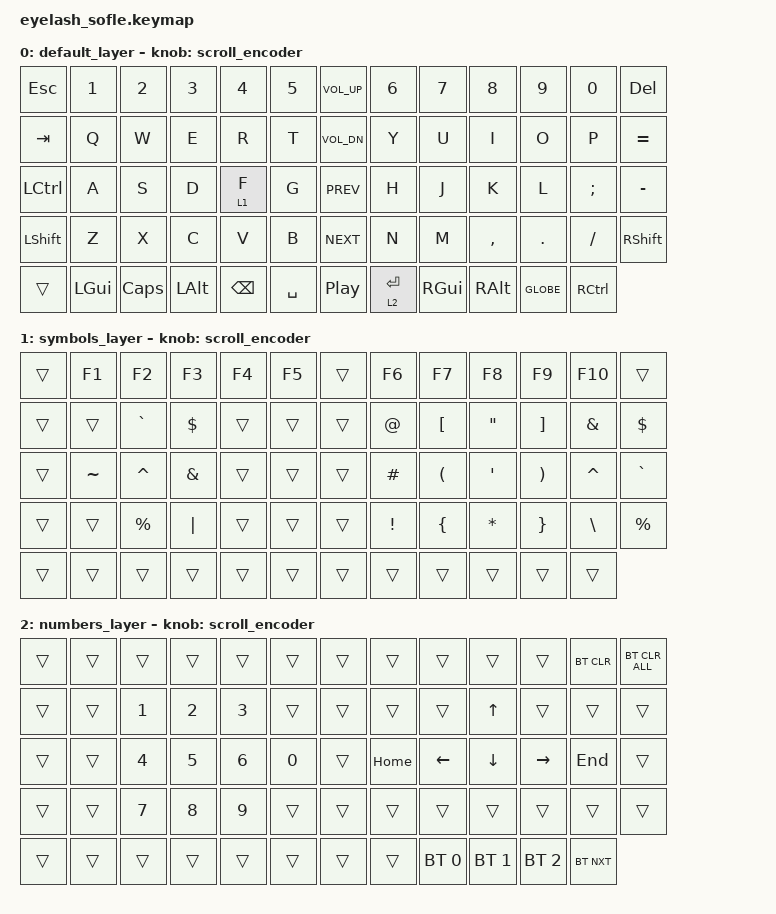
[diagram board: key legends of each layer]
#define ZMK_POINTING_DEFAULT_MOVE_VAL 1200  // 600
#define ZMK_POINTING_DEFAULT_SCRL_VAL 25   // 10

#include <input/processors.dtsi>
#include <zephyr/dt-bindings/input/input-event-codes.h>
#include <behaviors.dtsi>
#include <dt-bindings/zmk/bt.h>
#include <dt-bindings/zmk/keys.h>
#include <dt-bindings/zmk/pointing.h>

&mmv_input_listener { input-processors = <&zip_xy_scaler 2 1>; };

&msc_input_listener { input-processors = <&zip_scroll_scaler 2 1>; };

&msc {
    acceleration-exponent = <1>;      // 0
    time-to-max-speed-ms = <100>;       // 300
    delay-ms = <0>;                   // 0
};

&mmv {
    time-to-max-speed-ms = <500>;
    acceleration-exponent = <1>;
    trigger-period-ms = <16>;
};

/ {
    scroll_encoder: scroll_encoder {
        compatible = "zmk,behavior-sensor-rotate";
        #sensor-binding-cells = <0>;
        bindings = <&msc SCRL_DOWN>, <&msc SCRL_UP>;

        tap-ms = <100>;
    };

    behaviors {
        td0: tap_dance_0 {
            compatible = "zmk,behavior-tap-dance";
            label = "TAP_DANCE_0";
            #binding-cells = <0>;
            tapping-term-ms = <200>;
            bindings = <&kp LSHFT>, <&kp CAPS>;
        };
    };

    keymap {
        compatible = "zmk,keymap";

// ┏━━━━━━━━━━━━━━━━━━━━━━━━━━━━━━━━━━━━━━━┓
// ┃                  BASE                 ┃
// ┗━━━━━━━━━━━━━━━━━━━━━━━━━━━━━━━━━━━━━━━┛

        default_layer {
            bindings = <
&kp ESC           &kp N1    &kp N2    &kp N3    &kp N4    &kp N5             &kp C_VOL_UP         &kp N6     &kp N7    &kp N8     &kp N9     &kp N0    &kp DELETE
&kp TAB           &kp Q     &kp W     &kp E     &kp R     &kp T              &kp C_VOL_DN         &kp Y      &kp U     &kp I      &kp O      &kp P     &kp EQUAL
&kp LEFT_CONTROL  &kp A     &kp S     &kp D     &lt 1 F   &kp G              &kp C_PREV           &kp H      &kp J     &kp K      &kp L      &kp SEMI  &kp MINUS
&kp LEFT_SHIFT    &kp Z     &kp X     &kp C     &kp V     &kp B              &kp C_NEXT           &kp N      &kp M     &kp COMMA  &kp DOT    &kp FSLH  &kp RIGHT_SHIFT
&trans            &kp LGUI  &kp CAPS  &kp LALT  &kp BSPC  &kp SPACE          &kp C_PP             &lt 2 RET  &kp RGUI  &kp RALT   &kp GLOBE  &kp RCTRL

            >;

            sensor-bindings = <&scroll_encoder>;
            #display-name = "LAYER1";
        };

// ┏━━━━━━━━━━━━━━━━━━━━━━━━━━━━━━━━━━━━━━━┓
// ┃                  SYM                  ┃
// ┗━━━━━━━━━━━━━━━━━━━━━━━━━━━━━━━━━━━━━━━┛

        symbols_layer {
            bindings = <
&trans  &kp F1     &kp F2     &kp F3      &kp F4  &kp F5          &trans          &kp F6           &kp F7                &kp F8             &kp F9                 &kp F10        &trans
&trans  &trans     &kp GRAVE  &kp DOLLAR  &trans  &trans          &trans          &kp AT_SIGN      &kp LEFT_BRACKET      &kp DOUBLE_QUOTES  &kp RIGHT_BRACKET      &kp AMPERSAND  &kp DOLLAR
&trans  &kp TILDE  &kp CARET  &kp AMPS    &trans  &trans          &trans          &kp HASH         &kp LEFT_PARENTHESIS  &kp SQT            &kp RIGHT_PARENTHESIS  &kp CARET      &kp GRAVE
&trans  &trans     &kp PRCNT  &kp PIPE    &trans  &trans          &trans          &kp EXCLAMATION  &kp LEFT_BRACE        &kp ASTERISK       &kp RIGHT_BRACE        &kp BACKSLASH  &kp PERCENT
&trans  &trans     &trans     &trans      &trans  &trans          &trans          &trans           &trans                &trans             &trans                 &trans
        >;

            sensor-bindings = <&scroll_encoder>;
            #display-name = "LAYER2";
        };

// ┏━━━━━━━━━━━━━━━━━━━━━━━━━━━━━━━━━━━━━━━┓
// ┃                  NUM                  ┃
// ┗━━━━━━━━━━━━━━━━━━━━━━━━━━━━━━━━━━━━━━━┛

        numbers_layer {
            bindings = <
&trans  &trans  &trans  &trans        &trans  &trans          &trans          &trans    &trans          &trans          &trans           &bt BT_CLR  &bt BT_CLR_ALL
&trans  &trans  &kp N1  &kp N2        &kp N3  &trans          &trans          &trans    &trans          &kp UP_ARROW    &trans           &trans      &trans
&trans  &trans  &kp N4  &kp N5        &kp N6  &kp N0          &trans          &kp HOME  &kp LEFT_ARROW  &kp DOWN_ARROW  &kp RIGHT_ARROW  &kp END     &trans
&trans  &trans  &kp N7  &kp N8        &kp N9  &trans          &trans          &trans    &trans          &trans          &trans           &trans      &trans
&trans  &trans  &trans  &trans        &trans  &trans          &trans          &trans    &bt BT_SEL 0    &bt BT_SEL 1    &bt BT_SEL 2     &bt BT_NXT
            >;

            sensor-bindings = <&scroll_encoder>;
            #display-name = "LAYER3";
        };
    };
};
